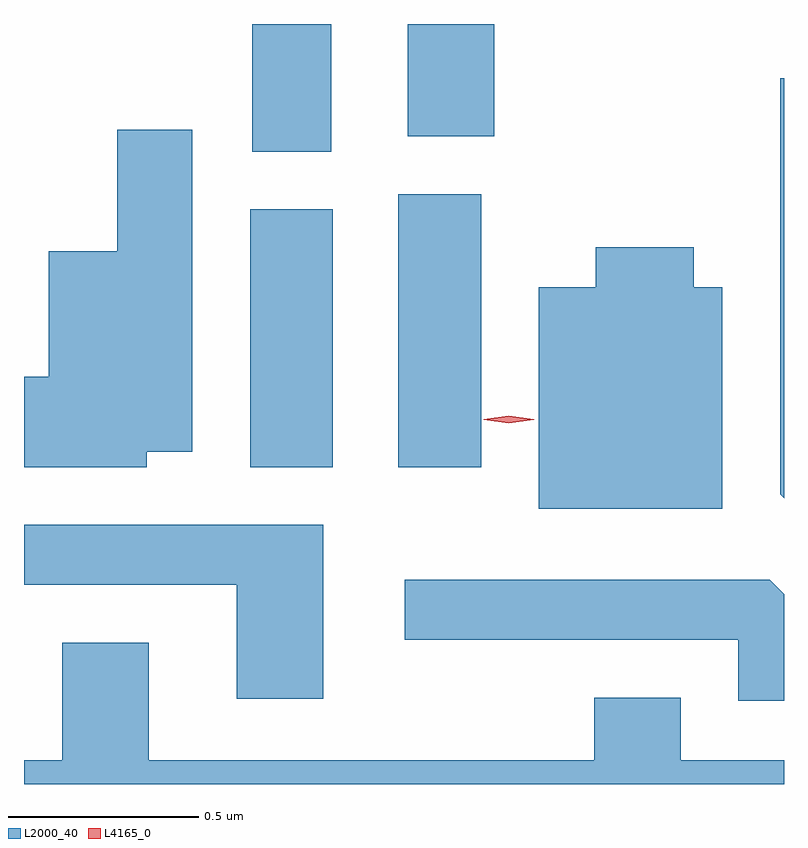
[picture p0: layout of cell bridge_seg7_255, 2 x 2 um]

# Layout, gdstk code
import gdstk
lib = gdstk.Library(unit=1e-6, precision=1e-09)
def R(c, l, rs):  # rectangles x0, y0, x1, y1
    for r in rs: c.add(gdstk.rectangle(r[:2], r[2:], *l))
def P(c, l, *ps):  # polygons
    for p in ps: c.add(gdstk.Polygon(p, *l))
L2000_40 = (2000, 40)
L4165_0 = (4165, 0)

bridge_seg7_255 = lib.new_cell('bridge_seg7_255')
R(bridge_seg7_255, L2000_40, [(1743.006,1695.376,1743.224,1696.054), (1743.396,1695.376,1743.614,1696.094), (1743.011,1696.206,1743.219,1696.542), (1743.421,1696.246,1743.649,1696.542)])
P(bridge_seg7_255, L2000_40, [(1744.411,1696.399),(1744.401,1696.399),(1744.401,1695.304),(1744.411,1695.294)],
  [(1742.734,1695.416),(1742.854,1695.416),(1742.854,1696.264),(1742.656,1696.264),(1742.656,1695.944),(1742.476,1695.944),(1742.476,1695.614),(1742.411,1695.614),(1742.411,1695.376),(1742.734,1695.376)],
  [(1744.249,1695.849),(1744.174,1695.849),(1744.174,1695.954),(1743.916,1695.954),(1743.916,1695.849),(1743.766,1695.849),(1743.766,1695.266),(1744.249,1695.266)],
  [(1743.199,1695.224),(1742.411,1695.224),(1742.411,1695.066),(1742.971,1695.066),(1742.971,1694.766),(1743.199,1694.766)],
  [(1744.411,1695.042),(1744.374,1695.079),(1743.413,1695.079),(1743.413,1694.921),(1744.291,1694.921),(1744.291,1694.761),(1744.411,1694.761)],
  [(1744.411,1694.604),(1744.139,1694.604),(1744.139,1694.769),(1743.911,1694.769),(1743.911,1694.604),(1742.739,1694.604),(1742.739,1694.914),(1742.511,1694.914),(1742.511,1694.604),(1742.411,1694.604),(1742.411,1694.542),(1744.411,1694.542)])
P(bridge_seg7_255, L4165_0, [(1743.687,1695.491),(1743.621,1695.501),(1743.621,1695.501),(1743.621,1695.502),(1743.687,1695.511),(1743.753,1695.502),(1743.754,1695.501),(1743.753,1695.501)])

lib.write_gds('bridge_seg7_255.gds')
